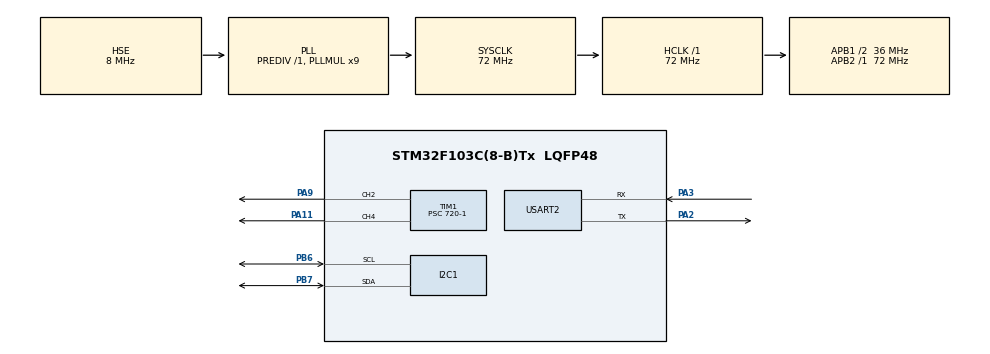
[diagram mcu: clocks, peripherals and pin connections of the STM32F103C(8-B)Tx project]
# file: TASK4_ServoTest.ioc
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Dma.Request0=USART2_RX
Dma.Request1=USART2_TX
Dma.USART2_RX.0.Direction=DMA_PERIPH_TO_MEMORY
Dma.USART2_RX.0.Instance=DMA1_Channel6
Dma.USART2_RX.0.MemDataAlignment=DMA_MDATAALIGN_BYTE
Dma.USART2_RX.0.MemInc=DMA_MINC_ENABLE
Dma.USART2_RX.0.Mode=DMA_NORMAL
Dma.USART2_RX.0.PeriphDataAlignment=DMA_PDATAALIGN_BYTE
Dma.USART2_RX.0.PeriphInc=DMA_PINC_DISABLE
Dma.USART2_RX.0.Priority=DMA_PRIORITY_LOW
Dma.USART2_TX.1.Direction=DMA_MEMORY_TO_PERIPH
Dma.USART2_TX.1.Instance=DMA1_Channel7
Dma.USART2_TX.1.MemDataAlignment=DMA_MDATAALIGN_BYTE
Dma.USART2_TX.1.MemInc=DMA_MINC_ENABLE
Dma.USART2_TX.1.Mode=DMA_NORMAL
Dma.USART2_TX.1.PeriphDataAlignment=DMA_PDATAALIGN_BYTE
Dma.USART2_TX.1.PeriphInc=DMA_PINC_DISABLE
Dma.USART2_TX.1.Priority=DMA_PRIORITY_LOW
I2C1.I2C_Mode=I2C_Fast
Mcu.Family=STM32F1
Mcu.Name=STM32F103C(8-B)Tx
Mcu.Package=LQFP48
NVIC.DMA1_Channel6_IRQn=true\:0\:0\:false\:false\:true\:false\:true\:true
NVIC.DMA1_Channel7_IRQn=true\:0\:0\:false\:false\:true\:false\:true\:true
NVIC.I2C1_ER_IRQn=true\:0\:0\:false\:false\:true\:true\:true\:true
NVIC.I2C1_EV_IRQn=true\:0\:0\:false\:false\:true\:true\:true\:true
NVIC.PriorityGroup=NVIC_PRIORITYGROUP_4
NVIC.USART2_IRQn=true\:0\:0\:false\:false\:true\:false\:true\:true
PA11.Signal=S_TIM1_CH4
PA13.Mode=Serial_Wire
PA13.Signal=SYS_JTMS-SWDIO
PA14.Mode=Serial_Wire
PA14.Signal=SYS_JTCK-SWCLK
PA2.Mode=Asynchronous
PA2.Signal=USART2_TX
PA3.Mode=Asynchronous
PA3.Signal=USART2_RX
PA9.Signal=S_TIM1_CH2
PB6.Mode=I2C
PB6.Signal=I2C1_SCL
PB7.Mode=I2C
PB7.Signal=I2C1_SDA
PD0-OSC_IN.Mode=HSE-External-Oscillator
PD0-OSC_IN.Signal=RCC_OSC_IN
PD1-OSC_OUT.Mode=HSE-External-Oscillator
PD1-OSC_OUT.Signal=RCC_OSC_OUT
ProjectManager.HeapSize=0x200
ProjectManager.StackSize=0x400
ProjectManager.TargetToolchain=CMake
RCC.AHBFreq_Value=72000000
RCC.APB1CLKDivider=RCC_HCLK_DIV2
RCC.APB1Freq_Value=36000000
RCC.APB1TimFreq_Value=72000000
RCC.APB2Freq_Value=72000000
RCC.APB2TimFreq_Value=72000000
RCC.HCLKFreq_Value=72000000
RCC.PLLMUL=RCC_PLL_MUL9
RCC.PLLSourceVirtual=RCC_PLLSOURCE_HSE
RCC.SYSCLKFreq_VALUE=72000000
RCC.SYSCLKSource=RCC_SYSCLKSOURCE_PLLCLK
RCC.USBFreq_Value=72000000
SH.S_TIM1_CH2.0=TIM1_CH2,PWM Generation2 CH2
SH.S_TIM1_CH4.0=TIM1_CH4,PWM Generation4 CH4
TIM1.Channel-PWM\ Generation2\ CH2=TIM_CHANNEL_2
TIM1.Channel-PWM\ Generation4\ CH4=TIM_CHANNEL_4
TIM1.Prescaler=720-1
TIM1.Period=1999
USART2.VirtualMode=VM_ASYNC
board=custom

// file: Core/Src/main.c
/* USER CODE BEGIN Header */

/* USER CODE END Header */
#include "main.h"
#include "dma.h"
#include "i2c.h"
#include "tim.h"
#include "usart.h"
#include "gpio.h"

/* USER CODE BEGIN Includes */
#include "OLED.h"
#include "mpu6050.h"
#include <math.h>
#include <string.h>
/* USER CODE END Includes */

/* USER CODE BEGIN PD */
#define SERVO_MIN_PULSE   50        /* 0.5ms：定时器 100kHz，1 个数 = 10us */
#define SERVO_MAX_PULSE   250       /* 2.5ms */
#define SERVO_YAW_CH      TIM_CHANNEL_2   /* PA9  */
#define SERVO_PITCH_CH    TIM_CHANNEL_4   /* PA11 */
#define SERVO_STEP        5.0f
#define SERVO_CENTER      90.0f

#define FUSION_ALPHA      0.98f     /* 一阶互补滤波系数 */
#define RAD_TO_DEG_F      57.29578f
/* USER CODE END PD */

/* USER CODE BEGIN PV */
static float servo_yaw   = SERVO_CENTER;
static float servo_pitch = SERVO_CENTER;

static MPU6050_t mpu6050data;
static uint8_t   mpu6050_ok = 1;      /* 0 = 传感器正常 */
static uint8_t   oled_status = 0;     /* 0=没找到 1=硬件I2C 2=软件I2C */
static float     roll_angle  = 0.0f;
static float     pitch_angle = 0.0f;

static char    rx_buf[4];
static uint8_t rx_len  = 0;
static char    rx_axis = 0;
/* USER CODE END PV */

void SystemClock_Config(void);
/* USER CODE BEGIN PFP */
static void LED_Init(void);
static void Servo_SetAngle(uint32_t channel, float angle);
static void Servo_Apply(void);
static void Servo_Sweep_One(uint32_t channel);
static void UART_SendStr(const char *s);
static void UART_SendInt(int32_t v);
static void Print_State(void);
static void Print_Help(void);
static void Format_Angle(char *out, float v, uint8_t pad);
static void Display_Update(void);
static void Apply_Pending(void);
static void Handle_Char(char c);
/* USER CODE END PFP */

/* USER CODE BEGIN 0 */

/* ---------- 板载心跳灯 PC13 ---------- */
static void LED_Init(void)
{
  GPIO_InitTypeDef GPIO_InitStruct = {0};

  __HAL_RCC_GPIOC_CLK_ENABLE();
  HAL_GPIO_WritePin(GPIOC, GPIO_PIN_13, GPIO_PIN_SET);

  GPIO_InitStruct.Pin = GPIO_PIN_13;
  GPIO_InitStruct.Mode = GPIO_MODE_OUTPUT_PP;
  GPIO_InitStruct.Pull = GPIO_NOPULL;
  GPIO_InitStruct.Speed = GPIO_SPEED_FREQ_LOW;
  HAL_GPIO_Init(GPIOC, &GPIO_InitStruct);
}

/* ---------- 舵机 ---------- */
static void Servo_SetAngle(uint32_t channel, float angle)
{
  uint32_t pulse;

  if (angle < 0.0f)   { angle = 0.0f; }
  if (angle > 180.0f) { angle = 180.0f; }

  pulse = (uint32_t)(SERVO_MIN_PULSE + angle * (float)(SERVO_MAX_PULSE - SERVO_MIN_PULSE) / 180.0f);
  __HAL_TIM_SET_COMPARE(&htim1, channel, pulse);
}

static void Servo_Apply(void)
{
  Servo_SetAngle(SERVO_YAW_CH, servo_yaw);
  Servo_SetAngle(SERVO_PITCH_CH, servo_pitch);
}

static void Servo_Sweep_One(uint32_t channel)
{
  int a;

  for (a = 90; a <= 130; a += 2) { Servo_SetAngle(channel, (float)a); HAL_Delay(20); }
  for (a = 130; a >= 50; a -= 2) { Servo_SetAngle(channel, (float)a); HAL_Delay(20); }
  Servo_SetAngle(channel, SERVO_CENTER);
}

static void UART_SendStr(const char *s)
{
  HAL_UART_Transmit(&huart2, (uint8_t *)s, (uint16_t)strlen(s), 100);
}

static void UART_SendInt(int32_t v)
{
  char buf[12];
  char tmp[12];
  uint8_t i = 0, n = 0;

  if (v < 0) { buf[i++] = '-'; v = -v; }
  if (v == 0) { tmp[n++] = '0'; }
  while (v > 0) { tmp[n++] = (char)('0' + (v % 10)); v /= 10; }
  while (n > 0) { buf[i++] = tmp[--n]; }
  buf[i] = '\0';
  UART_SendStr(buf);
}

static void Print_State(void)
{
  char buf[8];

  UART_SendStr("当前: YAW=");
  UART_SendInt((int32_t)(servo_yaw + 0.5f));
  UART_SendStr("  PIT_SERVO=");
  UART_SendInt((int32_t)(servo_pitch + 0.5f));
  UART_SendStr("  ROLL=");
  Format_Angle(buf, roll_angle, 0);
  UART_SendStr(buf);
  UART_SendStr("  PITCH=");
  Format_Angle(buf, pitch_angle, 0);
  UART_SendStr(buf);
  UART_SendStr("\r\n");
}

static void Format_Angle(char *out, float v, uint8_t pad)
{
  uint8_t i = 0;
  int32_t ip, fp;

  if (v >= 0.0f) { out[i++] = '+'; }
  else           { out[i++] = '-'; v = -v; }

  ip = (int32_t)v;
  fp = (int32_t)((v - (float)ip) * 10.0f + 0.5f);
  if (fp > 9) { fp = 0; ip++; }
  if (ip > 999) { ip = 999; }

  if (ip >= 100) { out[i++] = (char)('0' + ip / 100); }
  if (ip >= 10)  { out[i++] = (char)('0' + (ip / 10) % 10); }
  out[i++] = (char)('0' + ip % 10);
  out[i++] = '.';
  out[i++] = (char)('0' + fp);
  out[i]   = '\0';

  if (pad)
  {
    while (i < 5) { out[i++] = ' '; out[i] = '\0'; }
  }
}

static void Display_Update(void)
{
  char buf[8];

  OLED_ShowString(0, 0, "ROLL:  ", OLED_6X8);
  Format_Angle(buf, roll_angle, 1);
  OLED_ShowString(42, 0, buf, OLED_6X8);

  OLED_ShowString(0, 16, "PITCH: ", OLED_6X8);
  Format_Angle(buf, pitch_angle, 1);
  OLED_ShowString(42, 16, buf, OLED_6X8);

  OLED_ShowString(0, 32, "Y:", OLED_6X8);
  OLED_ShowNum(12, 32, (uint32_t)(servo_yaw + 0.5f), 3, OLED_6X8);
  OLED_ShowString(36, 32, "P:", OLED_6X8);
  OLED_ShowNum(48, 32, (uint32_t)(servo_pitch + 0.5f), 3, OLED_6X8);

  if (mpu6050_ok == 0) { OLED_ShowString(0, 48, "MPU OK  a d w s", OLED_6X8); }
  else                 { OLED_ShowString(0, 48, "MPU ERR a d w s", OLED_6X8); }

  OLED_Update();
}

static void Apply_Pending(void)
{
  int32_t v = 0;
  uint8_t i;

  if (rx_len == 0)
  {
    rx_axis = 0;
    return;
  }

  for (i = 0; i < rx_len; i++)
  {
    v = v * 10 + (rx_buf[i] - '0');
  }
  if (v > 180) { v = 180; }

  if (rx_axis == 'y') { servo_yaw   = (float)v; }
  else                { servo_pitch = (float)v; }

  Servo_Apply();
  Print_State();

  rx_axis = 0;
  rx_len  = 0;
}

static void Handle_Char(char c)
{
  if (rx_axis != 0)
  {
    if (c >= '0' && c <= '9')
    {
      if (rx_len < 3) { rx_buf[rx_len++] = c; }
      return;
    }
    if (c == '\r' || c == '\n')
    {
      Apply_Pending();
      return;
    }
    rx_axis = 0;
    rx_len  = 0;
  }

  switch (c)
  {
    case 'a': case 'A':
      servo_yaw -= SERVO_STEP;
      if (servo_yaw < 0.0f) { servo_yaw = 0.0f; }
      Servo_Apply(); Print_State();
      break;

    case 'd': case 'D':
      servo_yaw += SERVO_STEP;
      if (servo_yaw > 180.0f) { servo_yaw = 180.0f; }
      Servo_Apply(); Print_State();
      break;

    case 'w': case 'W':
      servo_pitch += SERVO_STEP;
      if (servo_pitch > 180.0f) { servo_pitch = 180.0f; }
      Servo_Apply(); Print_State();
      break;

    case 's': case 'S':
      servo_pitch -= SERVO_STEP;
      if (servo_pitch < 0.0f) { servo_pitch = 0.0f; }
      Servo_Apply(); Print_State();
      break;

    case 'm': case 'M':
      servo_yaw   = SERVO_CENTER;
      servo_pitch = SERVO_CENTER;
      Servo_Apply(); Print_State();
      break;

    case 't': case 'T':
      UART_SendStr("自检扫动 YAW (PA9) ...\r\n");
      OLED_ShowString(0, 16, "SWEEP YAW  ", OLED_6X8);
      OLED_Update();
      Servo_Sweep_One(SERVO_YAW_CH);

      UART_SendStr("自检扫动 PITCH (PA11)...\r\n");
      OLED_ShowString(0, 16, "SWEEP PITCH", OLED_6X8);
      OLED_Update();
      Servo_Sweep_One(SERVO_PITCH_CH);

      servo_yaw   = SERVO_CENTER;
      servo_pitch = SERVO_CENTER;
      UART_SendStr("自检结束\r\n");
      Print_State();
      break;

    case 'y': case 'Y':
      rx_axis = 'y'; rx_len = 0;
      UART_SendStr("输入 Yaw 角度(0~180)，回车确认: ");
      break;

    case 'p': case 'P':
      rx_axis = 'p'; rx_len = 0;
      UART_SendStr("输入 Pitch 角度(0~180)，回车确认: ");
      break;

    case '?': case 'h': case 'H':

      break;

    default:
      break;
  }
}

/* USER CODE END 0 */

int main(void)
{
  /* USER CODE BEGIN 1 */
  uint32_t last_imu    = 0;
  uint32_t last_disp   = 0;
  uint32_t last_heart  = 0;
  uint32_t last_retry  = 0;
  uint8_t  mpu_err_cnt = 0;
  char     c;
  /* USER CODE END 1 */

  HAL_Init();

  /* Configure the system clock */
  SystemClock_Config();

  /* Initialize all configured peripherals */
  MX_GPIO_Init();
  MX_DMA_Init();
  MX_I2C1_Init();
  MX_TIM1_Init();
  MX_USART2_UART_Init();

  /* USER CODE BEGIN 2 */
  LED_Init();

  mpu6050_ok  = MPU6050_Init(&hi2c1);   /* 先初始化传感器，顺便当一次 I2C 总线检测 */
  OLED_Init();                          /* 同一路 I2C 上的 OLED，自动识别 PB6/PB7 或 PB8/PB9 */
  oled_status = OLED_GetStatus();

  Servo_Apply();
  HAL_TIM_PWM_Start(&htim1, SERVO_YAW_CH);
  HAL_TIM_PWM_Start(&htim1, SERVO_PITCH_CH);

  UART_SendStr("\r\n==== 舵机云台 + MPU6050 + OLED ====\r\n");
  UART_SendStr("I2C1: SCL=PB6 SDA=PB7  (OLED 0x3C + MPU6050 0x68)\r\n");
  UART_SendStr("YAW   = TIM1_CH2 -> PA9\r\n");
  UART_SendStr("PITCH = TIM1_CH4 -> PA11\r\n");
  UART_SendStr("OLED : ");
  if (oled_status == 1)      { UART_SendStr("硬件I2C1 上应答\r\n"); }
  else if (oled_status == 2) { UART_SendStr("软件I2C(PB8/PB9) 上应答\r\n"); }
  else                       { UART_SendStr("没有应答！\r\n"); }
  UART_SendStr("MPU  : ");
  if (mpu6050_ok == 0)
  {
    static const char hex[] = "0123456789ABCDEF";
    char hb[3];
    hb[0] = hex[(mpu6050_whoami >> 4) & 0x0F];
    hb[1] = hex[mpu6050_whoami & 0x0F];
    hb[2] = '\0';
    UART_SendStr("应答, WHO_AM_I=0x");
    UART_SendStr(hb);
    UART_SendStr("\r\n");
  }
  else
  {
    UART_SendStr("没有应答！\r\n");
  }

  /* 开机自检扫动 */
  OLED_Clear();
  OLED_ShowString(0, 0, "SERVO + MPU TEST", OLED_6X8);
  OLED_ShowString(0, 16, "SWEEP YAW  ", OLED_6X8);
  OLED_Update();

  UART_SendStr("自检扫动 YAW (PA9) ...\r\n");
  Servo_Sweep_One(SERVO_YAW_CH);

  OLED_ShowString(0, 16, "SWEEP PITCH", OLED_6X8);
  OLED_Update();

  UART_SendStr("自检扫动 PITCH (PA11)...\r\n");
  Servo_Sweep_One(SERVO_PITCH_CH);

  servo_yaw   = SERVO_CENTER;
  servo_pitch = SERVO_CENTER;
  UART_SendStr("自检结束\r\n");

  // Print_Help();
  Print_State();
  /* USER CODE END 2 */

  /* Infinite loop */
  /* USER CODE BEGIN WHILE */
  while (1)
  {
    uint32_t now = HAL_GetTick();

    /* ---------- 0. 掉线自动重连：每 3 秒重试一次 ---------- */
    if (now - last_retry >= 3000)
    {
      last_retry = now;
      if (oled_status == 0)
      {
        OLED_Init();
        oled_status = OLED_GetStatus();
      }
      if (mpu6050_ok != 0)
      {
        mpu6050_ok = MPU6050_Init(&hi2c1);
        mpu_err_cnt = 0;
      }
    }

    if (now - last_imu >= 10)
    {
      float dt = (float)(now - last_imu) / 1000.0f;
      last_imu = now;
      if (dt > 0.2f) { dt = 0.01f; }

      if (MPU6050_Read_All(&hi2c1, &mpu6050data) == 0)
      {
        float ax = (float)mpu6050data.Ax;
        float ay = (float)mpu6050data.Ay;
        float az = (float)mpu6050data.Az;
        float acc_roll  = atan2f(ay, az) * RAD_TO_DEG_F;
        float acc_pitch = atan2f(-ax, sqrtf(ay * ay + az * az)) * RAD_TO_DEG_F;

        roll_angle  = FUSION_ALPHA * (roll_angle  + (float)mpu6050data.Gx * dt)
                    + (1.0f - FUSION_ALPHA) * acc_roll;
        pitch_angle = FUSION_ALPHA * (pitch_angle + (float)mpu6050data.Gy * dt)
                    + (1.0f - FUSION_ALPHA) * acc_pitch;

        mpu_err_cnt = 0;
        mpu6050_ok  = 0;
      }
      else
      {
        if (mpu_err_cnt < 10)  { mpu_err_cnt++; }
        if (mpu_err_cnt >= 10) { mpu6050_ok = 1; }
      }
    }

    while (HAL_UART_Receive(&huart2, (uint8_t *)&c, 1, 0) == HAL_OK)
    {
      Handle_Char(c);
    }

    if (now - last_disp >= 100)
    {
      last_disp = now;
      Display_Update();
    }

    if (now - last_heart >= (mpu6050_ok ? 100 : 500))
    {
      last_heart = now;
      HAL_GPIO_TogglePin(GPIOC, GPIO_PIN_13);
    }
    /* USER CODE END WHILE */

  }
}

void SystemClock_Config(void)
{
  RCC_OscInitTypeDef RCC_OscInitStruct = {0};
  RCC_ClkInitTypeDef RCC_ClkInitStruct = {0};

  /** Initializes the RCC Oscillators according to the specified parameters
  * in the RCC_OscInitTypeDef structure.
  */
  RCC_OscInitStruct.OscillatorType = RCC_OSCILLATORTYPE_HSE;
  RCC_OscInitStruct.HSEState = RCC_HSE_ON;
  RCC_OscInitStruct.HSEPredivValue = RCC_HSE_PREDIV_DIV1;
  RCC_OscInitStruct.HSIState = RCC_HSI_ON;
  RCC_OscInitStruct.PLL.PLLState = RCC_PLL_ON;
  RCC_OscInitStruct.PLL.PLLSource = RCC_PLLSOURCE_HSE;
  RCC_OscInitStruct.PLL.PLLMUL = RCC_PLL_MUL9;
  if (HAL_RCC_OscConfig(&RCC_OscInitStruct) != HAL_OK)
  {
    Error_Handler();
  }

  /** Initializes the CPU, AHB and APB buses clocks
  */
  RCC_ClkInitStruct.ClockType = RCC_CLOCKTYPE_HCLK|RCC_CLOCKTYPE_SYSCLK
                              |RCC_CLOCKTYPE_PCLK1|RCC_CLOCKTYPE_PCLK2;
  RCC_ClkInitStruct.SYSCLKSource = RCC_SYSCLKSOURCE_PLLCLK;
  RCC_ClkInitStruct.AHBCLKDivider = RCC_SYSCLK_DIV1;
  RCC_ClkInitStruct.APB1CLKDivider = RCC_HCLK_DIV2;
  RCC_ClkInitStruct.APB2CLKDivider = RCC_HCLK_DIV1;

  if (HAL_RCC_ClockConfig(&RCC_ClkInitStruct, FLASH_LATENCY_2) != HAL_OK)
  {
    Error_Handler();
  }
}

void Error_Handler(void)
{
  __disable_irq();
  while (1)
  {
  }
}
